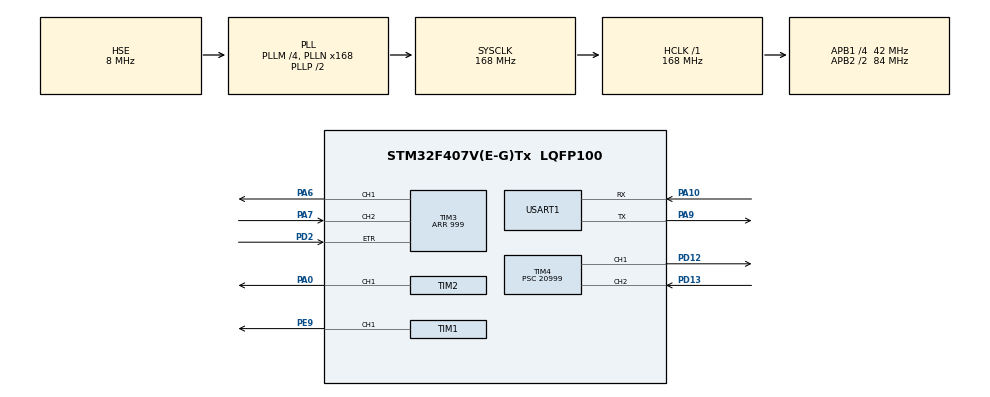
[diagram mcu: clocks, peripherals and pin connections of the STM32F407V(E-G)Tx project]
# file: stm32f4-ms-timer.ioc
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Mcu.Family=STM32F4
Mcu.Name=STM32F407V(E-G)Tx
Mcu.Package=LQFP100
NVIC.PriorityGroup=NVIC_PRIORITYGROUP_4
PA0-WKUP.GPIO_PuPd=GPIO_PULLDOWN
PA0-WKUP.GPIO_Speed=GPIO_SPEED_FREQ_VERY_HIGH
PA0-WKUP.Signal=S_TIM2_CH1_ETR
PA10.Mode=Asynchronous
PA10.Signal=USART1_RX
PA6.GPIO_PuPd=GPIO_PULLDOWN
PA6.GPIO_Speed=GPIO_SPEED_FREQ_VERY_HIGH
PA6.Signal=S_TIM3_CH1
PA7.GPIO_ModeDefaultPP=GPIO_MODE_AF_PP
PA7.GPIO_PuPd=GPIO_PULLDOWN
PA7.GPIO_Speed=GPIO_SPEED_FREQ_VERY_HIGH
PA7.Signal=S_TIM3_CH2
PA9.Mode=Asynchronous
PA9.Signal=USART1_TX
PC14-OSC32_IN.Mode=LSE-External-Oscillator
PC14-OSC32_IN.Signal=RCC_OSC32_IN
PC15-OSC32_OUT.Mode=LSE-External-Oscillator
PC15-OSC32_OUT.Signal=RCC_OSC32_OUT
PD12.GPIO_PuPd=GPIO_PULLDOWN
PD12.GPIO_Speed=GPIO_SPEED_FREQ_VERY_HIGH
PD12.Signal=S_TIM4_CH1
PD13.GPIO_PuPd=GPIO_PULLDOWN
PD13.GPIO_Speed=GPIO_SPEED_FREQ_VERY_HIGH
PD13.Signal=S_TIM4_CH2
PD2.GPIO_Speed=GPIO_SPEED_FREQ_VERY_HIGH
PD2.Signal=S_TIM3_ETR
PE9.GPIO_PuPd=GPIO_PULLDOWN
PE9.GPIO_Speed=GPIO_SPEED_FREQ_VERY_HIGH
PE9.Signal=S_TIM1_CH1
PH0-OSC_IN.Mode=HSE-External-Oscillator
PH0-OSC_IN.Signal=RCC_OSC_IN
PH1-OSC_OUT.Mode=HSE-External-Oscillator
PH1-OSC_OUT.Signal=RCC_OSC_OUT
ProjectManager.HeapSize=0x200
ProjectManager.StackSize=0x400
ProjectManager.TargetToolchain=STM32CubeIDE
RCC.48MHZClocksFreq_Value=84000000
RCC.AHBFreq_Value=168000000
RCC.APB1CLKDivider=RCC_HCLK_DIV4
RCC.APB1Freq_Value=42000000
RCC.APB1TimFreq_Value=84000000
RCC.APB2CLKDivider=RCC_HCLK_DIV2
RCC.APB2Freq_Value=84000000
RCC.APB2TimFreq_Value=168000000
RCC.CortexFreq_Value=168000000
RCC.HCLKFreq_Value=168000000
RCC.HSE_VALUE=8000000
RCC.HSI_VALUE=16000000
RCC.PLLM=4
RCC.PLLN=168
RCC.PLLSourceVirtual=RCC_PLLSOURCE_HSE
RCC.SYSCLKFreq_VALUE=168000000
RCC.SYSCLKSource=RCC_SYSCLKSOURCE_PLLCLK
RCC.VCOOutputFreq_Value=336000000
SH.S_TIM1_CH1.0=TIM1_CH1,PWM Generation1 CH1
SH.S_TIM2_CH1_ETR.0=TIM2_CH1,PWM Generation1 CH1
SH.S_TIM3_CH1.0=TIM3_CH1,PWM Generation1 CH1
SH.S_TIM3_CH2.0=TIM3_CH2,TriggerSource_TI2FP2
SH.S_TIM3_ETR.0=TIM3_ETR,ClockSourceETR_Mode2
SH.S_TIM4_CH1.0=TIM4_CH1,PWM Generation1 CH1
SH.S_TIM4_CH2.0=TIM4_CH2,TriggerSource_TI2FP2
TIM1.Channel-PWM\ Generation1\ CH1=TIM_CHANNEL_1
TIM1.OCIdleState_1=TIM_OCIDLESTATE_SET
TIM1.OCMode_PWM-PWM\ Generation1\ CH1=TIM_OCMODE_PWM1
TIM1.OCPolarity_1=TIM_OCPOLARITY_HIGH
TIM1.Period=4999
TIM1.Prescaler=33599
TIM1.Pulse-PWM\ Generation1\ CH1=50
TIM2.Channel-PWM\ Generation1\ CH1=TIM_CHANNEL_1
TIM2.OCMode_PWM-PWM\ Generation1\ CH1=TIM_OCMODE_PWM1
TIM2.OCPolarity_1=TIM_OCPOLARITY_HIGH
TIM2.Period=999
TIM2.Pulse-PWM\ Generation1\ CH1=10
TIM3.Channel-PWM\ Generation1\ CH1=TIM_CHANNEL_1
TIM3.OCMode_PWM-PWM\ Generation1\ CH1=TIM_OCMODE_PWM1
TIM3.OCPolarity_1=TIM_OCPOLARITY_HIGH
TIM3.Period=999
TIM3.Pulse-PWM\ Generation1\ CH1=10
TIM3.TIM_MasterOutputTrigger=TIM_TRGO_UPDATE
TIM4.Channel-PWM\ Generation1\ CH1=TIM_CHANNEL_1
TIM4.OCMode_PWM-PWM\ Generation1\ CH1=TIM_OCMODE_PWM1
TIM4.OCPolarity_1=TIM_OCPOLARITY_HIGH
TIM4.Period=3
TIM4.Prescaler=20999
TIM4.Pulse-PWM\ Generation1\ CH1=2
TIM4.TIM_MasterOutputTrigger=TIM_TRGO_UPDATE
USART1.VirtualMode=VM_ASYNC
VP_TIM1_VS_ClockSourceINT.Mode=Internal
VP_TIM2_VS_ClockSourceITR.Mode=TriggerSource_ITR3
VP_TIM2_VS_ControllerModeClock.Mode=Clock Mode
VP_TIM3_VS_ControllerModeReset.Mode=Reset Mode
VP_TIM4_VS_ClockSourceINT.Mode=Internal
VP_TIM4_VS_ControllerModeReset.Mode=Reset Mode
board=custom

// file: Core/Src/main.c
/* USER CODE BEGIN Header */
/**
  ******************************************************************************
  * @file           : main.c
  * @brief          : Main program body
  ******************************************************************************
  * @attention
  *
  * <h2><center>&copy; Copyright (c) 2020 STMicroelectronics.
  * All rights reserved.</center></h2>
  *
  * This software component is licensed by ST under BSD 3-Clause license,
  * the "License"; You may not use this file except in compliance with the
  * License. You may obtain a copy of the License at:
  *                        opensource.org/licenses/BSD-3-Clause
  *
  ******************************************************************************
  */
/* USER CODE END Header */

#include "main.h"

TIM_HandleTypeDef htim1;
TIM_HandleTypeDef htim2;
TIM_HandleTypeDef htim3;
TIM_HandleTypeDef htim4;

UART_HandleTypeDef huart1;

void SystemClock_Config(void);
static void MX_GPIO_Init(void);
static void MX_TIM2_Init(void);
static void MX_TIM4_Init(void);
static void MX_USART1_UART_Init(void);
static void MX_TIM3_Init(void);
static void MX_TIM1_Init(void);

int main(void)
{

  /* MCU Configuration--------------------------------------------------------*/

  /* Reset of all peripherals, Initializes the Flash interface and the Systick. */
  HAL_Init();

  /* Configure the system clock */
  SystemClock_Config();

  /* Initialize all configured peripherals */
  MX_GPIO_Init();
  MX_TIM2_Init();
  MX_TIM4_Init();
  MX_USART1_UART_Init();
  MX_TIM3_Init();
  MX_TIM1_Init();
  /* USER CODE BEGIN 2 */

  // TIM1 будет изображать PPS сигнал
  // поэтому с начала мы его тоже "взводим"
  __HAL_TIM_MOE_ENABLE(&htim1);
  __HAL_TIM_SET_COUNTER(&htim1, __HAL_TIM_GET_AUTORELOAD(&htim1));
  TIM_CCxChannelCmd(htim1.Instance, TIM_CHANNEL_1, TIM_CCx_ENABLE);

  // Включаем PWM выводы для всех таймеров, для того, чтобы пины
  // перешли в OUTPUT режим и ставим счетчик таймера
  // в предельное значение
  // При наших настройках (PWM MODE 1, POLARITY HIGH) это выводит PWM линию в 0
  // Но при этом таймер по пуску сразу же сгенерирует UPD событие и сбросится
  __HAL_TIM_SET_COUNTER(&htim2, __HAL_TIM_GET_AUTORELOAD(&htim2));
  TIM_CCxChannelCmd(htim2.Instance, TIM_CHANNEL_1, TIM_CCx_ENABLE);

  __HAL_TIM_SET_COUNTER(&htim3, __HAL_TIM_GET_AUTORELOAD(&htim3));
  TIM_CCxChannelCmd(htim3.Instance, TIM_CHANNEL_1, TIM_CCx_ENABLE);

  __HAL_TIM_SET_COUNTER(&htim4, __HAL_TIM_GET_AUTORELOAD(&htim4));
  TIM_CCxChannelCmd(htim4.Instance, TIM_CHANNEL_1, TIM_CCx_ENABLE);

  // Подождем чуть чуть, чтобы все PWM линии надежно опустились вниз
  // и все таймеры одновременно стартанули передним фронтом на своих PWM линиях
  HAL_Delay(10);

  // Запускаем все таймеры
  // именно в таком порядке
  __HAL_TIM_ENABLE(&htim2);
  __HAL_TIM_ENABLE(&htim3);
  __HAL_TIM_ENABLE(&htim4);

  // Через пол секунды стартует PPS сигнал
  HAL_Delay(500);
  __HAL_TIM_ENABLE(&htim1);
  /* USER CODE END 2 */

  /* Infinite loop */
  while (1)
  {

  }
}

void SystemClock_Config(void)
{
  RCC_OscInitTypeDef RCC_OscInitStruct = {0};
  RCC_ClkInitTypeDef RCC_ClkInitStruct = {0};

  /** Configure the main internal regulator output voltage
  */
  __HAL_RCC_PWR_CLK_ENABLE();
  __HAL_PWR_VOLTAGESCALING_CONFIG(PWR_REGULATOR_VOLTAGE_SCALE1);
  /** Initializes the CPU, AHB and APB busses clocks
  */
  RCC_OscInitStruct.OscillatorType = RCC_OSCILLATORTYPE_HSE;
  RCC_OscInitStruct.HSEState = RCC_HSE_ON;
  RCC_OscInitStruct.PLL.PLLState = RCC_PLL_ON;
  RCC_OscInitStruct.PLL.PLLSource = RCC_PLLSOURCE_HSE;
  RCC_OscInitStruct.PLL.PLLM = 4;
  RCC_OscInitStruct.PLL.PLLN = 168;
  RCC_OscInitStruct.PLL.PLLP = RCC_PLLP_DIV2;
  RCC_OscInitStruct.PLL.PLLQ = 4;
  if (HAL_RCC_OscConfig(&RCC_OscInitStruct) != HAL_OK)
  {
    Error_Handler();
  }
  /** Initializes the CPU, AHB and APB busses clocks
  */
  RCC_ClkInitStruct.ClockType = RCC_CLOCKTYPE_HCLK|RCC_CLOCKTYPE_SYSCLK
                              |RCC_CLOCKTYPE_PCLK1|RCC_CLOCKTYPE_PCLK2;
  RCC_ClkInitStruct.SYSCLKSource = RCC_SYSCLKSOURCE_PLLCLK;
  RCC_ClkInitStruct.AHBCLKDivider = RCC_SYSCLK_DIV1;
  RCC_ClkInitStruct.APB1CLKDivider = RCC_HCLK_DIV4;
  RCC_ClkInitStruct.APB2CLKDivider = RCC_HCLK_DIV2;

  if (HAL_RCC_ClockConfig(&RCC_ClkInitStruct, FLASH_LATENCY_5) != HAL_OK)
  {
    Error_Handler();
  }
}

static void MX_TIM1_Init(void)
{

  TIM_ClockConfigTypeDef sClockSourceConfig = {0};
  TIM_MasterConfigTypeDef sMasterConfig = {0};
  TIM_OC_InitTypeDef sConfigOC = {0};
  TIM_BreakDeadTimeConfigTypeDef sBreakDeadTimeConfig = {0};

  htim1.Instance = TIM1;
  htim1.Init.Prescaler = 33599;
  htim1.Init.CounterMode = TIM_COUNTERMODE_UP;
  htim1.Init.Period = 4999;
  htim1.Init.ClockDivision = TIM_CLOCKDIVISION_DIV1;
  htim1.Init.RepetitionCounter = 0;
  htim1.Init.AutoReloadPreload = TIM_AUTORELOAD_PRELOAD_DISABLE;
  if (HAL_TIM_Base_Init(&htim1) != HAL_OK)
  {
    Error_Handler();
  }
  sClockSourceConfig.ClockSource = TIM_CLOCKSOURCE_INTERNAL;
  if (HAL_TIM_ConfigClockSource(&htim1, &sClockSourceConfig) != HAL_OK)
  {
    Error_Handler();
  }
  if (HAL_TIM_PWM_Init(&htim1) != HAL_OK)
  {
    Error_Handler();
  }
  sMasterConfig.MasterOutputTrigger = TIM_TRGO_RESET;
  sMasterConfig.MasterSlaveMode = TIM_MASTERSLAVEMODE_DISABLE;
  if (HAL_TIMEx_MasterConfigSynchronization(&htim1, &sMasterConfig) != HAL_OK)
  {
    Error_Handler();
  }
  sConfigOC.OCMode = TIM_OCMODE_PWM1;
  sConfigOC.Pulse = 50;
  sConfigOC.OCPolarity = TIM_OCPOLARITY_HIGH;
  sConfigOC.OCNPolarity = TIM_OCNPOLARITY_HIGH;
  sConfigOC.OCFastMode = TIM_OCFAST_DISABLE;
  sConfigOC.OCIdleState = TIM_OCIDLESTATE_SET;
  sConfigOC.OCNIdleState = TIM_OCNIDLESTATE_RESET;
  if (HAL_TIM_PWM_ConfigChannel(&htim1, &sConfigOC, TIM_CHANNEL_1) != HAL_OK)
  {
    Error_Handler();
  }
  sBreakDeadTimeConfig.OffStateRunMode = TIM_OSSR_DISABLE;
  sBreakDeadTimeConfig.OffStateIDLEMode = TIM_OSSI_DISABLE;
  sBreakDeadTimeConfig.LockLevel = TIM_LOCKLEVEL_OFF;
  sBreakDeadTimeConfig.DeadTime = 0;
  sBreakDeadTimeConfig.BreakState = TIM_BREAK_DISABLE;
  sBreakDeadTimeConfig.BreakPolarity = TIM_BREAKPOLARITY_HIGH;
  sBreakDeadTimeConfig.AutomaticOutput = TIM_AUTOMATICOUTPUT_DISABLE;
  if (HAL_TIMEx_ConfigBreakDeadTime(&htim1, &sBreakDeadTimeConfig) != HAL_OK)
  {
    Error_Handler();
  }
  HAL_TIM_MspPostInit(&htim1);

}

static void MX_TIM2_Init(void)
{

  TIM_SlaveConfigTypeDef sSlaveConfig = {0};
  TIM_MasterConfigTypeDef sMasterConfig = {0};
  TIM_OC_InitTypeDef sConfigOC = {0};

  htim2.Instance = TIM2;
  htim2.Init.Prescaler = 0;
  htim2.Init.CounterMode = TIM_COUNTERMODE_UP;
  htim2.Init.Period = 999;
  htim2.Init.ClockDivision = TIM_CLOCKDIVISION_DIV1;
  htim2.Init.AutoReloadPreload = TIM_AUTORELOAD_PRELOAD_DISABLE;
  if (HAL_TIM_Base_Init(&htim2) != HAL_OK)
  {
    Error_Handler();
  }
  if (HAL_TIM_PWM_Init(&htim2) != HAL_OK)
  {
    Error_Handler();
  }
  sSlaveConfig.SlaveMode = TIM_SLAVEMODE_EXTERNAL1;
  sSlaveConfig.InputTrigger = TIM_TS_ITR3;
  if (HAL_TIM_SlaveConfigSynchro(&htim2, &sSlaveConfig) != HAL_OK)
  {
    Error_Handler();
  }
  sMasterConfig.MasterOutputTrigger = TIM_TRGO_RESET;
  sMasterConfig.MasterSlaveMode = TIM_MASTERSLAVEMODE_DISABLE;
  if (HAL_TIMEx_MasterConfigSynchronization(&htim2, &sMasterConfig) != HAL_OK)
  {
    Error_Handler();
  }
  sConfigOC.OCMode = TIM_OCMODE_PWM1;
  sConfigOC.Pulse = 10;
  sConfigOC.OCPolarity = TIM_OCPOLARITY_HIGH;
  sConfigOC.OCFastMode = TIM_OCFAST_DISABLE;
  if (HAL_TIM_PWM_ConfigChannel(&htim2, &sConfigOC, TIM_CHANNEL_1) != HAL_OK)
  {
    Error_Handler();
  }
  HAL_TIM_MspPostInit(&htim2);

}

static void MX_TIM3_Init(void)
{

  TIM_ClockConfigTypeDef sClockSourceConfig = {0};
  TIM_SlaveConfigTypeDef sSlaveConfig = {0};
  TIM_MasterConfigTypeDef sMasterConfig = {0};
  TIM_OC_InitTypeDef sConfigOC = {0};

  htim3.Instance = TIM3;
  htim3.Init.Prescaler = 0;
  htim3.Init.CounterMode = TIM_COUNTERMODE_UP;
  htim3.Init.Period = 999;
  htim3.Init.ClockDivision = TIM_CLOCKDIVISION_DIV1;
  htim3.Init.AutoReloadPreload = TIM_AUTORELOAD_PRELOAD_DISABLE;
  if (HAL_TIM_Base_Init(&htim3) != HAL_OK)
  {
    Error_Handler();
  }
  sClockSourceConfig.ClockSource = TIM_CLOCKSOURCE_ETRMODE2;
  sClockSourceConfig.ClockPolarity = TIM_CLOCKPOLARITY_NONINVERTED;
  sClockSourceConfig.ClockPrescaler = TIM_CLOCKPRESCALER_DIV1;
  sClockSourceConfig.ClockFilter = 0;
  if (HAL_TIM_ConfigClockSource(&htim3, &sClockSourceConfig) != HAL_OK)
  {
    Error_Handler();
  }
  if (HAL_TIM_PWM_Init(&htim3) != HAL_OK)
  {
    Error_Handler();
  }
  sSlaveConfig.SlaveMode = TIM_SLAVEMODE_RESET;
  sSlaveConfig.InputTrigger = TIM_TS_TI2FP2;
  sSlaveConfig.TriggerPolarity = TIM_TRIGGERPOLARITY_RISING;
  sSlaveConfig.TriggerFilter = 0;
  if (HAL_TIM_SlaveConfigSynchro(&htim3, &sSlaveConfig) != HAL_OK)
  {
    Error_Handler();
  }
  sMasterConfig.MasterOutputTrigger = TIM_TRGO_UPDATE;
  sMasterConfig.MasterSlaveMode = TIM_MASTERSLAVEMODE_DISABLE;
  if (HAL_TIMEx_MasterConfigSynchronization(&htim3, &sMasterConfig) != HAL_OK)
  {
    Error_Handler();
  }
  sConfigOC.OCMode = TIM_OCMODE_PWM1;
  sConfigOC.Pulse = 10;
  sConfigOC.OCPolarity = TIM_OCPOLARITY_HIGH;
  sConfigOC.OCFastMode = TIM_OCFAST_DISABLE;
  if (HAL_TIM_PWM_ConfigChannel(&htim3, &sConfigOC, TIM_CHANNEL_1) != HAL_OK)
  {
    Error_Handler();
  }
  HAL_TIM_MspPostInit(&htim3);

}

static void MX_TIM4_Init(void)
{

  TIM_ClockConfigTypeDef sClockSourceConfig = {0};
  TIM_SlaveConfigTypeDef sSlaveConfig = {0};
  TIM_MasterConfigTypeDef sMasterConfig = {0};
  TIM_OC_InitTypeDef sConfigOC = {0};

  htim4.Instance = TIM4;
  htim4.Init.Prescaler = 20999;
  htim4.Init.CounterMode = TIM_COUNTERMODE_UP;
  htim4.Init.Period = 3;
  htim4.Init.ClockDivision = TIM_CLOCKDIVISION_DIV1;
  htim4.Init.AutoReloadPreload = TIM_AUTORELOAD_PRELOAD_DISABLE;
  if (HAL_TIM_Base_Init(&htim4) != HAL_OK)
  {
    Error_Handler();
  }
  sClockSourceConfig.ClockSource = TIM_CLOCKSOURCE_INTERNAL;
  if (HAL_TIM_ConfigClockSource(&htim4, &sClockSourceConfig) != HAL_OK)
  {
    Error_Handler();
  }
  if (HAL_TIM_PWM_Init(&htim4) != HAL_OK)
  {
    Error_Handler();
  }
  sSlaveConfig.SlaveMode = TIM_SLAVEMODE_RESET;
  sSlaveConfig.InputTrigger = TIM_TS_TI2FP2;
  sSlaveConfig.TriggerPolarity = TIM_TRIGGERPOLARITY_RISING;
  sSlaveConfig.TriggerFilter = 0;
  if (HAL_TIM_SlaveConfigSynchro(&htim4, &sSlaveConfig) != HAL_OK)
  {
    Error_Handler();
  }
  sMasterConfig.MasterOutputTrigger = TIM_TRGO_UPDATE;
  sMasterConfig.MasterSlaveMode = TIM_MASTERSLAVEMODE_DISABLE;
  if (HAL_TIMEx_MasterConfigSynchronization(&htim4, &sMasterConfig) != HAL_OK)
  {
    Error_Handler();
  }
  sConfigOC.OCMode = TIM_OCMODE_PWM1;
  sConfigOC.Pulse = 2;
  sConfigOC.OCPolarity = TIM_OCPOLARITY_HIGH;
  sConfigOC.OCFastMode = TIM_OCFAST_DISABLE;
  if (HAL_TIM_PWM_ConfigChannel(&htim4, &sConfigOC, TIM_CHANNEL_1) != HAL_OK)
  {
    Error_Handler();
  }
  HAL_TIM_MspPostInit(&htim4);

}

static void MX_USART1_UART_Init(void)
{

  huart1.Instance = USART1;
  huart1.Init.BaudRate = 115200;
  huart1.Init.WordLength = UART_WORDLENGTH_8B;
  huart1.Init.StopBits = UART_STOPBITS_1;
  huart1.Init.Parity = UART_PARITY_NONE;
  huart1.Init.Mode = UART_MODE_TX_RX;
  huart1.Init.HwFlowCtl = UART_HWCONTROL_NONE;
  huart1.Init.OverSampling = UART_OVERSAMPLING_16;
  if (HAL_UART_Init(&huart1) != HAL_OK)
  {
    Error_Handler();
  }

}

static void MX_GPIO_Init(void)
{

  /* GPIO Ports Clock Enable */
  __HAL_RCC_GPIOC_CLK_ENABLE();
  __HAL_RCC_GPIOH_CLK_ENABLE();
  __HAL_RCC_GPIOA_CLK_ENABLE();
  __HAL_RCC_GPIOE_CLK_ENABLE();
  __HAL_RCC_GPIOD_CLK_ENABLE();

}

void Error_Handler(void)
{
}

/************************ (C) COPYRIGHT STMicroelectronics *****END OF FILE****/
